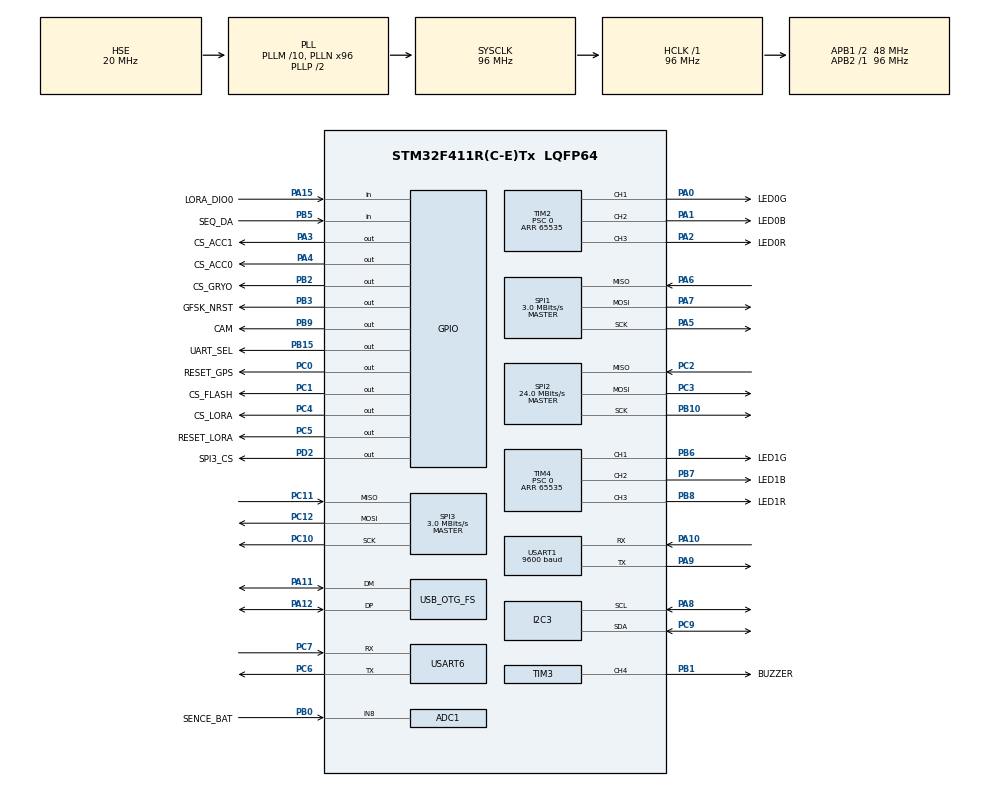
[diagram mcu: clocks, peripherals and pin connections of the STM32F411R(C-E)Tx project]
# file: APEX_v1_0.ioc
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ADC1.Channel-0\#ChannelRegularConversion=ADC_CHANNEL_8
ADC1.NbrOfConversionFlag=1
ADC1.Rank-0\#ChannelRegularConversion=1
ADC1.SamplingTime-0\#ChannelRegularConversion=ADC_SAMPLETIME_3CYCLES
ADC1.master=1
Dma.ADC1.8.Direction=DMA_PERIPH_TO_MEMORY
Dma.ADC1.8.FIFOMode=DMA_FIFOMODE_DISABLE
Dma.ADC1.8.Instance=DMA2_Stream4
Dma.ADC1.8.MemDataAlignment=DMA_MDATAALIGN_HALFWORD
Dma.ADC1.8.MemInc=DMA_MINC_ENABLE
Dma.ADC1.8.Mode=DMA_NORMAL
Dma.ADC1.8.PeriphDataAlignment=DMA_PDATAALIGN_HALFWORD
Dma.ADC1.8.PeriphInc=DMA_PINC_DISABLE
Dma.ADC1.8.Priority=DMA_PRIORITY_LOW
Dma.I2C3_RX.0.Direction=DMA_PERIPH_TO_MEMORY
Dma.I2C3_RX.0.FIFOMode=DMA_FIFOMODE_DISABLE
Dma.I2C3_RX.0.Instance=DMA1_Stream1
Dma.I2C3_RX.0.MemDataAlignment=DMA_MDATAALIGN_BYTE
Dma.I2C3_RX.0.MemInc=DMA_MINC_ENABLE
Dma.I2C3_RX.0.Mode=DMA_NORMAL
Dma.I2C3_RX.0.PeriphDataAlignment=DMA_PDATAALIGN_BYTE
Dma.I2C3_RX.0.PeriphInc=DMA_PINC_DISABLE
Dma.I2C3_RX.0.Priority=DMA_PRIORITY_LOW
Dma.I2C3_TX.1.Direction=DMA_MEMORY_TO_PERIPH
Dma.I2C3_TX.1.FIFOMode=DMA_FIFOMODE_DISABLE
Dma.I2C3_TX.1.Instance=DMA1_Stream5
Dma.I2C3_TX.1.MemDataAlignment=DMA_MDATAALIGN_BYTE
Dma.I2C3_TX.1.MemInc=DMA_MINC_ENABLE
Dma.I2C3_TX.1.Mode=DMA_NORMAL
Dma.I2C3_TX.1.PeriphDataAlignment=DMA_PDATAALIGN_BYTE
Dma.I2C3_TX.1.PeriphInc=DMA_PINC_DISABLE
Dma.I2C3_TX.1.Priority=DMA_PRIORITY_LOW
Dma.Request0=I2C3_RX
Dma.Request1=I2C3_TX
Dma.Request10=USART6_TX
Dma.Request11=SPI3_RX
Dma.Request12=SPI3_TX
Dma.Request2=SPI1_RX
Dma.Request3=SPI1_TX
Dma.Request4=SPI2_RX
Dma.Request5=SPI2_TX
Dma.Request6=USART1_RX
Dma.Request7=USART1_TX
Dma.Request8=ADC1
Dma.Request9=USART6_RX
Dma.SPI1_RX.2.Direction=DMA_PERIPH_TO_MEMORY
Dma.SPI1_RX.2.FIFOMode=DMA_FIFOMODE_DISABLE
Dma.SPI1_RX.2.Instance=DMA2_Stream0
Dma.SPI1_RX.2.MemDataAlignment=DMA_MDATAALIGN_BYTE
Dma.SPI1_RX.2.MemInc=DMA_MINC_ENABLE
Dma.SPI1_RX.2.Mode=DMA_NORMAL
Dma.SPI1_RX.2.PeriphDataAlignment=DMA_PDATAALIGN_BYTE
Dma.SPI1_RX.2.PeriphInc=DMA_PINC_DISABLE
Dma.SPI1_RX.2.Priority=DMA_PRIORITY_LOW
Dma.SPI1_TX.3.Direction=DMA_MEMORY_TO_PERIPH
Dma.SPI1_TX.3.FIFOMode=DMA_FIFOMODE_DISABLE
Dma.SPI1_TX.3.Instance=DMA2_Stream2
Dma.SPI1_TX.3.MemDataAlignment=DMA_MDATAALIGN_BYTE
Dma.SPI1_TX.3.MemInc=DMA_MINC_ENABLE
Dma.SPI1_TX.3.Mode=DMA_NORMAL
Dma.SPI1_TX.3.PeriphDataAlignment=DMA_PDATAALIGN_BYTE
Dma.SPI1_TX.3.PeriphInc=DMA_PINC_DISABLE
Dma.SPI1_TX.3.Priority=DMA_PRIORITY_LOW
Dma.SPI2_RX.4.Direction=DMA_PERIPH_TO_MEMORY
Dma.SPI2_RX.4.FIFOMode=DMA_FIFOMODE_DISABLE
Dma.SPI2_RX.4.Instance=DMA1_Stream3
Dma.SPI2_RX.4.MemDataAlignment=DMA_MDATAALIGN_BYTE
Dma.SPI2_RX.4.MemInc=DMA_MINC_ENABLE
Dma.SPI2_RX.4.Mode=DMA_NORMAL
Dma.SPI2_RX.4.PeriphDataAlignment=DMA_PDATAALIGN_BYTE
Dma.SPI2_RX.4.PeriphInc=DMA_PINC_DISABLE
Dma.SPI2_RX.4.Priority=DMA_PRIORITY_LOW
Dma.SPI2_TX.5.Direction=DMA_MEMORY_TO_PERIPH
Dma.SPI2_TX.5.FIFOMode=DMA_FIFOMODE_DISABLE
Dma.SPI2_TX.5.Instance=DMA1_Stream4
Dma.SPI2_TX.5.MemDataAlignment=DMA_MDATAALIGN_BYTE
Dma.SPI2_TX.5.MemInc=DMA_MINC_ENABLE
Dma.SPI2_TX.5.Mode=DMA_NORMAL
Dma.SPI2_TX.5.PeriphDataAlignment=DMA_PDATAALIGN_BYTE
Dma.SPI2_TX.5.PeriphInc=DMA_PINC_DISABLE
Dma.SPI2_TX.5.Priority=DMA_PRIORITY_LOW
Dma.SPI3_RX.11.Direction=DMA_PERIPH_TO_MEMORY
Dma.SPI3_RX.11.FIFOMode=DMA_FIFOMODE_DISABLE
Dma.SPI3_RX.11.Instance=DMA1_Stream0
Dma.SPI3_RX.11.MemDataAlignment=DMA_MDATAALIGN_BYTE
Dma.SPI3_RX.11.MemInc=DMA_MINC_ENABLE
Dma.SPI3_RX.11.Mode=DMA_NORMAL
Dma.SPI3_RX.11.PeriphDataAlignment=DMA_PDATAALIGN_BYTE
Dma.SPI3_RX.11.PeriphInc=DMA_PINC_DISABLE
Dma.SPI3_RX.11.Priority=DMA_PRIORITY_LOW
Dma.SPI3_TX.12.Direction=DMA_MEMORY_TO_PERIPH
Dma.SPI3_TX.12.FIFOMode=DMA_FIFOMODE_DISABLE
Dma.SPI3_TX.12.Instance=DMA1_Stream7
Dma.SPI3_TX.12.MemDataAlignment=DMA_MDATAALIGN_BYTE
Dma.SPI3_TX.12.MemInc=DMA_MINC_ENABLE
Dma.SPI3_TX.12.Mode=DMA_NORMAL
Dma.SPI3_TX.12.PeriphDataAlignment=DMA_PDATAALIGN_BYTE
Dma.SPI3_TX.12.PeriphInc=DMA_PINC_DISABLE
Dma.SPI3_TX.12.Priority=DMA_PRIORITY_LOW
Dma.USART1_RX.6.Direction=DMA_PERIPH_TO_MEMORY
Dma.USART1_RX.6.FIFOMode=DMA_FIFOMODE_DISABLE
Dma.USART1_RX.6.Instance=DMA2_Stream5
Dma.USART1_RX.6.MemDataAlignment=DMA_MDATAALIGN_BYTE
Dma.USART1_RX.6.MemInc=DMA_MINC_ENABLE
Dma.USART1_RX.6.Mode=DMA_NORMAL
Dma.USART1_RX.6.PeriphDataAlignment=DMA_PDATAALIGN_BYTE
Dma.USART1_RX.6.PeriphInc=DMA_PINC_DISABLE
Dma.USART1_RX.6.Priority=DMA_PRIORITY_LOW
Dma.USART1_TX.7.Direction=DMA_MEMORY_TO_PERIPH
Dma.USART1_TX.7.FIFOMode=DMA_FIFOMODE_DISABLE
Dma.USART1_TX.7.Instance=DMA2_Stream7
Dma.USART1_TX.7.MemDataAlignment=DMA_MDATAALIGN_BYTE
Dma.USART1_TX.7.MemInc=DMA_MINC_ENABLE
Dma.USART1_TX.7.Mode=DMA_NORMAL
Dma.USART1_TX.7.PeriphDataAlignment=DMA_PDATAALIGN_BYTE
Dma.USART1_TX.7.PeriphInc=DMA_PINC_DISABLE
Dma.USART1_TX.7.Priority=DMA_PRIORITY_LOW
Dma.USART6_RX.9.Direction=DMA_PERIPH_TO_MEMORY
Dma.USART6_RX.9.FIFOMode=DMA_FIFOMODE_DISABLE
Dma.USART6_RX.9.Instance=DMA2_Stream1
Dma.USART6_RX.9.MemDataAlignment=DMA_MDATAALIGN_BYTE
Dma.USART6_RX.9.MemInc=DMA_MINC_ENABLE
Dma.USART6_RX.9.Mode=DMA_NORMAL
Dma.USART6_RX.9.PeriphDataAlignment=DMA_PDATAALIGN_BYTE
Dma.USART6_RX.9.PeriphInc=DMA_PINC_DISABLE
Dma.USART6_RX.9.Priority=DMA_PRIORITY_LOW
Dma.USART6_TX.10.Direction=DMA_MEMORY_TO_PERIPH
Dma.USART6_TX.10.FIFOMode=DMA_FIFOMODE_DISABLE
Dma.USART6_TX.10.Instance=DMA2_Stream6
Dma.USART6_TX.10.MemDataAlignment=DMA_MDATAALIGN_BYTE
Dma.USART6_TX.10.MemInc=DMA_MINC_ENABLE
Dma.USART6_TX.10.Mode=DMA_NORMAL
Dma.USART6_TX.10.PeriphDataAlignment=DMA_PDATAALIGN_BYTE
Dma.USART6_TX.10.PeriphInc=DMA_PINC_DISABLE
Dma.USART6_TX.10.Priority=DMA_PRIORITY_LOW
FREERTOS.INCLUDE_pcTaskGetTaskName=1
FREERTOS.INCLUDE_uxTaskGetStackHighWaterMark2=1
FREERTOS.INCLUDE_vTaskCleanUpResources=1
FREERTOS.INCLUDE_xEventGroupSetBitFromISR=1
FREERTOS.INCLUDE_xSemaphoreGetMutexHolder=1
FREERTOS.INCLUDE_xTaskAbortDelay=1
FREERTOS.INCLUDE_xTaskGetHandle=1
FREERTOS.Tasks01=defaultTask,24,1024,StartDefaultTask,Default,NULL,Static,defaultTaskBuffer,defaultTaskControlBlock
FREERTOS.configGENERATE_RUN_TIME_STATS=1
FREERTOS.configRECORD_STACK_HIGH_ADDRESS=1
FREERTOS.configUSE_APPLICATION_TASK_TAG=1
FREERTOS.configUSE_NEWLIB_REENTRANT=0
FREERTOS.configUSE_POSIX_ERRNO=1
FREERTOS.configUSE_STATS_FORMATTING_FUNCTIONS=1
FREERTOS.configUSE_TICKLESS_IDLE=0
FREERTOS.copyHeapFile=1
Mcu.Family=STM32F4
Mcu.Name=STM32F411R(C-E)Tx
Mcu.Package=LQFP64
NVIC.DMA1_Stream0_IRQn=true\:5\:0\:false\:false\:true\:true\:false\:true\:true
NVIC.DMA1_Stream1_IRQn=true\:5\:0\:false\:false\:true\:true\:false\:true\:true
NVIC.DMA1_Stream3_IRQn=true\:5\:0\:false\:false\:true\:true\:false\:true\:true
NVIC.DMA1_Stream4_IRQn=true\:5\:0\:false\:false\:true\:true\:false\:true\:true
NVIC.DMA1_Stream5_IRQn=true\:5\:0\:false\:false\:true\:true\:false\:true\:true
NVIC.DMA1_Stream7_IRQn=true\:5\:0\:false\:false\:true\:true\:false\:true\:true
NVIC.DMA2_Stream0_IRQn=true\:5\:0\:false\:false\:true\:true\:false\:true\:true
NVIC.DMA2_Stream1_IRQn=true\:5\:0\:false\:false\:true\:true\:false\:true\:true
NVIC.DMA2_Stream2_IRQn=true\:5\:0\:false\:false\:true\:true\:false\:true\:true
NVIC.DMA2_Stream4_IRQn=true\:5\:0\:false\:false\:true\:true\:false\:true\:true
NVIC.DMA2_Stream5_IRQn=true\:5\:0\:false\:false\:true\:true\:false\:true\:true
NVIC.DMA2_Stream6_IRQn=true\:5\:0\:false\:false\:true\:true\:false\:true\:true
NVIC.DMA2_Stream7_IRQn=true\:5\:0\:false\:false\:true\:true\:false\:true\:true
NVIC.OTG_FS_IRQn=true\:5\:0\:false\:false\:true\:true\:false\:true\:true
NVIC.PriorityGroup=NVIC_PRIORITYGROUP_4
NVIC.SPI3_IRQn=true\:5\:0\:false\:false\:true\:true\:true\:true\:true
NVIC.TIM1_TRG_COM_TIM11_IRQn=true\:5\:0\:false\:false\:true\:true\:true\:true\:true
NVIC.USART1_IRQn=true\:5\:0\:false\:false\:true\:true\:true\:true\:true
NVIC.USART6_IRQn=true\:5\:0\:false\:false\:true\:true\:true\:true\:true
PA0-WKUP.GPIO_Label=LED0G
PA0-WKUP.Signal=S_TIM2_CH1_ETR
PA1.GPIO_Label=LED0B
PA1.Signal=S_TIM2_CH2
PA10.Mode=Asynchronous
PA10.Signal=USART1_RX
PA11.Mode=Device_Only
PA11.Signal=USB_OTG_FS_DM
PA12.Mode=Device_Only
PA12.Signal=USB_OTG_FS_DP
PA13.Mode=Serial_Wire
PA13.Signal=SYS_JTMS-SWDIO
PA14.Mode=Serial_Wire
PA14.Signal=SYS_JTCK-SWCLK
PA15.GPIO_Label=LORA_DIO0
PA15.Signal=GPIO_Input
PA2.GPIO_Label=LED0R
PA2.Signal=S_TIM2_CH3
PA3.GPIO_Label=CS_ACC1
PA3.PinState=GPIO_PIN_SET
PA3.Signal=GPIO_Output
PA4.GPIO_Label=CS_ACC0
PA4.PinState=GPIO_PIN_SET
PA4.Signal=GPIO_Output
PA5.Mode=Full_Duplex_Master
PA5.Signal=SPI1_SCK
PA6.Mode=Full_Duplex_Master
PA6.Signal=SPI1_MISO
PA7.Mode=Full_Duplex_Master
PA7.Signal=SPI1_MOSI
PA8.Mode=I2C
PA8.Signal=I2C3_SCL
PA9.Mode=Asynchronous
PA9.Signal=USART1_TX
PB0.GPIO_Label=SENCE_BAT
PB0.Signal=ADCx_IN8
PB1.GPIO_Label=BUZZER
PB1.Signal=S_TIM3_CH4
PB10.Mode=Full_Duplex_Master
PB10.Signal=SPI2_SCK
PB15.GPIO_Label=UART_SEL
PB15.Signal=GPIO_Output
PB2.GPIO_Label=CS_GRYO
PB2.PinState=GPIO_PIN_SET
PB2.Signal=GPIO_Output
PB3.GPIO_Label=GFSK_NRST
PB3.PinState=GPIO_PIN_SET
PB3.Signal=GPIO_Output
PB5.GPIO_Label=SEQ_DA
PB5.Signal=GPIO_Input
PB6.GPIO_Label=LED1G
PB6.Signal=S_TIM4_CH1
PB7.GPIO_Label=LED1B
PB7.Signal=S_TIM4_CH2
PB8.GPIO_Label=LED1R
PB8.Signal=S_TIM4_CH3
PB9.GPIO_Label=CAM
PB9.Signal=GPIO_Output
PC0.GPIO_Label=RESET_GPS
PC0.PinState=GPIO_PIN_SET
PC0.Signal=GPIO_Output
PC1.GPIO_Label=CS_FLASH
PC1.PinState=GPIO_PIN_SET
PC1.Signal=GPIO_Output
PC10.Mode=Full_Duplex_Master
PC10.Signal=SPI3_SCK
PC11.Mode=Full_Duplex_Master
PC11.Signal=SPI3_MISO
PC12.Mode=Full_Duplex_Master
PC12.Signal=SPI3_MOSI
PC14-OSC32_IN.Mode=LSE-External-Oscillator
PC14-OSC32_IN.Signal=RCC_OSC32_IN
PC15-OSC32_OUT.Mode=LSE-External-Oscillator
PC15-OSC32_OUT.Signal=RCC_OSC32_OUT
PC2.Mode=Full_Duplex_Master
PC2.Signal=SPI2_MISO
PC3.Mode=Full_Duplex_Master
PC3.Signal=SPI2_MOSI
PC4.GPIO_Label=CS_LORA
PC4.PinState=GPIO_PIN_SET
PC4.Signal=GPIO_Output
PC5.GPIO_Label=RESET_LORA
PC5.PinState=GPIO_PIN_SET
PC5.Signal=GPIO_Output
PC6.Mode=Asynchronous
PC6.Signal=USART6_TX
PC7.Mode=Asynchronous
PC7.Signal=USART6_RX
PC9.Mode=I2C
PC9.Signal=I2C3_SDA
PD2.GPIO_Label=SPI3_CS
PD2.PinState=GPIO_PIN_SET
PD2.Signal=GPIO_Output
PH0\ -\ OSC_IN.Mode=HSE-External-Oscillator
PH0\ -\ OSC_IN.Signal=RCC_OSC_IN
PH1\ -\ OSC_OUT.Mode=HSE-External-Oscillator
PH1\ -\ OSC_OUT.Signal=RCC_OSC_OUT
ProjectManager.HeapSize=0x200
ProjectManager.StackSize=0x400
ProjectManager.TargetToolchain=CMake
RCC.48MHZClocksFreq_Value=48000000
RCC.AHBFreq_Value=96000000
RCC.APB1CLKDivider=RCC_HCLK_DIV2
RCC.APB1Freq_Value=48000000
RCC.APB1TimFreq_Value=96000000
RCC.APB2Freq_Value=96000000
RCC.APB2TimFreq_Value=96000000
RCC.CortexFreq_Value=96000000
RCC.HCLKFreq_Value=96000000
RCC.HSE_VALUE=20000000
RCC.HSI_VALUE=16000000
RCC.PLLM=10
RCC.PLLN=96
RCC.SYSCLKFreq_VALUE=96000000
RCC.SYSCLKSource=RCC_SYSCLKSOURCE_PLLCLK
RCC.VCOOutputFreq_Value=192000000
SH.ADCx_IN8.0=ADC1_IN8,IN8
SH.S_TIM2_CH1_ETR.0=TIM2_CH1,PWM Generation1 CH1
SH.S_TIM2_CH2.0=TIM2_CH2,PWM Generation2 CH2
SH.S_TIM2_CH3.0=TIM2_CH3,PWM Generation3 CH3
SH.S_TIM3_CH4.0=TIM3_CH4,PWM Generation4 CH4
SH.S_TIM4_CH1.0=TIM4_CH1,PWM Generation1 CH1
SH.S_TIM4_CH2.0=TIM4_CH2,PWM Generation2 CH2
SH.S_TIM4_CH3.0=TIM4_CH3,PWM Generation3 CH3
SPI1.BaudRatePrescaler=SPI_BAUDRATEPRESCALER_32
SPI1.CalculateBaudRate=3.0 MBits/s
SPI1.Direction=SPI_DIRECTION_2LINES
SPI1.Mode=SPI_MODE_MASTER
SPI1.VirtualType=VM_MASTER
SPI2.CalculateBaudRate=24.0 MBits/s
SPI2.Direction=SPI_DIRECTION_2LINES
SPI2.Mode=SPI_MODE_MASTER
SPI2.VirtualType=VM_MASTER
SPI3.BaudRatePrescaler=SPI_BAUDRATEPRESCALER_16
SPI3.CalculateBaudRate=3.0 MBits/s
SPI3.Direction=SPI_DIRECTION_2LINES
SPI3.Mode=SPI_MODE_MASTER
SPI3.VirtualType=VM_MASTER
TIM2.Channel-PWM\ Generation1\ CH1=TIM_CHANNEL_1
TIM2.Channel-PWM\ Generation2\ CH2=TIM_CHANNEL_2
TIM2.Channel-PWM\ Generation3\ CH3=TIM_CHANNEL_3
TIM2.Period=65535
TIM2.Prescaler=0
TIM3.Channel-PWM\ Generation4\ CH4=TIM_CHANNEL_4
TIM3.Period=65535
TIM3.Prescaler=0
TIM4.Channel-PWM\ Generation1\ CH1=TIM_CHANNEL_1
TIM4.Channel-PWM\ Generation2\ CH2=TIM_CHANNEL_2
TIM4.Channel-PWM\ Generation3\ CH3=TIM_CHANNEL_3
TIM4.Period=65535
TIM4.Prescaler=0
TIM9.Period=65535-1
TIM9.Prescaler=1-1
USART1.BaudRate=9600
USART1.VirtualMode=VM_ASYNC
USART6.VirtualMode=VM_ASYNC
USB_DEVICE.CLASS_NAME_FS=CDC
USB_DEVICE.VirtualMode=Cdc
USB_DEVICE.VirtualModeFS=Cdc_FS
USB_OTG_FS.VirtualMode=Device_Only
VP_CRC_VS_CRC.Mode=CRC_Activate
VP_FREERTOS_VS_CMSIS_V2.Mode=CMSIS_V2
VP_TIM11_VS_ClockSourceINT.Mode=Enable_Timer
VP_TIM2_VS_ClockSourceINT.Mode=Internal
VP_TIM3_VS_ClockSourceINT.Mode=Internal
VP_TIM4_VS_ClockSourceINT.Mode=Internal
VP_TIM9_VS_ClockSourceINT.Mode=Internal
VP_USB_DEVICE_VS_USB_DEVICE_CDC_FS.Mode=CDC_FS
board=custom

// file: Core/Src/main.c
/* USER CODE BEGIN Header */
/**
 ******************************************************************************
 * @file           : main.c
 * @brief          : Main program body
 ******************************************************************************
 * @attention
 *
 * Copyright (c) 2025 STMicroelectronics.
 * All rights reserved.
 *
 * This software is licensed under terms that can be found in the LICENSE file
 * in the root directory of this software component.
 * If no LICENSE file comes with this software, it is provided AS-IS.
 *
 ******************************************************************************
 */
/* USER CODE END Header */
#include "main.h"
#include "cmsis_os.h"
#include "adc.h"
#include "crc.h"
#include "dma.h"
#include "i2c.h"
#include "spi.h"
#include "tim.h"
#include "usart.h"
#include "usb_device.h"
#include "gpio.h"

/* USER CODE BEGIN Includes */

#include "usbd_cdc_if.h"

#include "project.h"

#include "adc.h"
#include "crc.h"
#include "dma.h"
#include "i2c.h"
#include "spi.h"
#include "tim.h"
#include "usart.h"
#include "gpio.h"

/* USER CODE END Includes */

void SystemClock_Config(void);
void MX_FREERTOS_Init(void);
/* USER CODE BEGIN PFP */
const char TASK_Program_start_name[19] = "TASK_Program_start";
/* USER CODE END PFP */

int main(void)
{

  /* MCU Configuration--------------------------------------------------------*/

  /* Reset of all peripherals, Initializes the Flash interface and the Systick. */
  HAL_Init();

  /* Configure the system clock */
  SystemClock_Config();

  /* Initialize all configured peripherals */
  MX_GPIO_Init();
  MX_DMA_Init();
  MX_I2C3_Init();
  MX_SPI2_Init();
  MX_TIM2_Init();
  MX_TIM4_Init();
  MX_USART1_UART_Init();
  MX_ADC1_Init();
  MX_SPI1_Init();
  MX_TIM3_Init();
  MX_CRC_Init();
  MX_TIM11_Init();
  MX_TIM9_Init();
  MX_SPI3_Init();
  MX_USART6_UART_Init();
  /* USER CODE BEGIN 2 */

	MX_USB_DEVICE_Init();

#if (APEX_CFG_SCHED_SEQ == 1)
	DRIVERS_CONFIG_init_result_t Drivers_Init_Seq_result;
	DRIVERS_CONFIG_init_seq(&Drivers_Init_Seq_result);
	// Later on, we can implement more specific error handling based on the
	// type of failure. DRIVERS_CONFIG_init_seq could return different error codes for
	// different initialization failures or write on struct saying which module is
	// init and which isn't, etc. For now, we just do a generic error handler.

	setup();

#endif

#if (APEX_CFG_SCHED_RTOS == 1)
  /* USER CODE END 2 */

  /* Init scheduler */
  osKernelInitialize();  /* Call init function for freertos objects (in cmsis_os2.c) */
  MX_FREERTOS_Init();

  /* Start scheduler */
  osKernelStart();

  /* We should never get here as control is now taken by the scheduler */

  /* Infinite loop */
  /* USER CODE BEGIN WHILE */
#endif

	while (1) {
#if (APEX_CFG_SCHED_SEQ == 1)
		loop();
#endif
    /* USER CODE END WHILE */

	}
}

void SystemClock_Config(void)
{
  RCC_OscInitTypeDef RCC_OscInitStruct = {0};
  RCC_ClkInitTypeDef RCC_ClkInitStruct = {0};

  /** Configure the main internal regulator output voltage
  */
  __HAL_RCC_PWR_CLK_ENABLE();
  __HAL_PWR_VOLTAGESCALING_CONFIG(PWR_REGULATOR_VOLTAGE_SCALE1);

  /** Initializes the RCC Oscillators according to the specified parameters
  * in the RCC_OscInitTypeDef structure.
  */
  RCC_OscInitStruct.OscillatorType = RCC_OSCILLATORTYPE_HSE;
  RCC_OscInitStruct.HSEState = RCC_HSE_ON;
  RCC_OscInitStruct.PLL.PLLState = RCC_PLL_ON;
  RCC_OscInitStruct.PLL.PLLSource = RCC_PLLSOURCE_HSE;
  RCC_OscInitStruct.PLL.PLLM = 10;
  RCC_OscInitStruct.PLL.PLLN = 96;
  RCC_OscInitStruct.PLL.PLLP = RCC_PLLP_DIV2;
  RCC_OscInitStruct.PLL.PLLQ = 4;
  if (HAL_RCC_OscConfig(&RCC_OscInitStruct) != HAL_OK)
  {
    Error_Handler();
  }

  /** Initializes the CPU, AHB and APB buses clocks
  */
  RCC_ClkInitStruct.ClockType = RCC_CLOCKTYPE_HCLK|RCC_CLOCKTYPE_SYSCLK
                              |RCC_CLOCKTYPE_PCLK1|RCC_CLOCKTYPE_PCLK2;
  RCC_ClkInitStruct.SYSCLKSource = RCC_SYSCLKSOURCE_PLLCLK;
  RCC_ClkInitStruct.AHBCLKDivider = RCC_SYSCLK_DIV1;
  RCC_ClkInitStruct.APB1CLKDivider = RCC_HCLK_DIV2;
  RCC_ClkInitStruct.APB2CLKDivider = RCC_HCLK_DIV1;

  if (HAL_RCC_ClockConfig(&RCC_ClkInitStruct, FLASH_LATENCY_3) != HAL_OK)
  {
    Error_Handler();
  }
}

void HAL_TIM_PeriodElapsedCallback(TIM_HandleTypeDef *htim)
{
  if (htim->Instance == TIM10)
  {
    HAL_IncTick();
  }
}

void Error_Handler(void)
{
  /* USER CODE BEGIN Error_Handler_Debug */
  /* User can add his own implementation to report the HAL error return state */
  __disable_irq();

  HAL_GPIO_TogglePin(LED0B_GPIO_Port, LED0B_Pin);
  while (1) {
  }
  /* USER CODE END Error_Handler_Debug */
}
#ifdef USE_FULL_ASSERT
/**
  * @brief  Reports the name of the source file and the source line number
  *         where the assert_param error has occurred.
  * @param  file: pointer to the source file name
  * @param  line: assert_param error line source number
  * @retval None
  */
void assert_failed(uint8_t *file, uint32_t line)
{
  /* USER CODE BEGIN 6 */
  /* User can add his own implementation to report the file name and line
     number, ex: printf("Wrong parameters value: file %s on line %d\r\n", file,
     line) */
	while (1);
  /* USER CODE END 6 */
}
#endif /* USE_FULL_ASSERT */

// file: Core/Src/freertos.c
/* USER CODE BEGIN Header */
/**
  ******************************************************************************
  * File Name          : freertos.c
  * Description        : Code for freertos applications
  ******************************************************************************
  * @attention
  *
  * Copyright (c) 2025 STMicroelectronics.
  * All rights reserved.
  *
  * This software is licensed under terms that can be found in the LICENSE file
  * in the root directory of this software component.
  * If no LICENSE file comes with this software, it is provided AS-IS.
  *
  ******************************************************************************
  */
/* USER CODE END Header */

#include "FreeRTOS.h"
#include "task.h"
#include "main.h"
#include "cmsis_os.h"

/* USER CODE BEGIN Includes */
#include "tim.h"
#include "spi.h"
#include "project.h"
/* USER CODE END Includes */

typedef StaticTask_t osStaticThreadDef_t;
typedef StaticSemaphore_t osStaticMutexDef_t;
typedef StaticEventGroup_t osStaticEventGroupDef_t;

/* Definitions for defaultTask */
osThreadId_t defaultTaskHandle;
uint32_t defaultTaskBuffer[ 1024 ];
osStaticThreadDef_t defaultTaskControlBlock;
const osThreadAttr_t defaultTask_attributes = {
  .name = "defaultTask",
  .cb_mem = &defaultTaskControlBlock,
  .cb_size = sizeof(defaultTaskControlBlock),
  .stack_mem = &defaultTaskBuffer[0],
  .stack_size = sizeof(defaultTaskBuffer),
  .priority = (osPriority_t) osPriorityNormal,
};

/* USER CODE BEGIN FunctionPrototypes */
#if (APEX_CFG_SCHED_RTOS == 1)
void setup_pre_kernel(void);
#endif
/* USER CODE END FunctionPrototypes */

void StartDefaultTask(void *argument);

extern void MX_USB_DEVICE_Init(void);
void MX_FREERTOS_Init(void); /* (MISRA C 2004 rule 8.1) */

/* Hook prototypes */
void configureTimerForRunTimeStats(void);
unsigned long getRunTimeCounterValue(void);

/* USER CODE BEGIN 1 */
/* Functions needed when configGENERATE_RUN_TIME_STATS is on */
__weak void configureTimerForRunTimeStats(void)
{
	HAL_TIM_Base_Start_IT(&htim11);
}

extern volatile unsigned long ulHighFrequencyTimerTicks;
__weak unsigned long getRunTimeCounterValue(void)
{
return ulHighFrequencyTimerTicks;
}
/* USER CODE END 1 */

/* USER CODE BEGIN VPORT_SUPPORT_TICKS_AND_SLEEP */
__weak void vPortSuppressTicksAndSleep( TickType_t xExpectedIdleTime )
{
  // Generated when configUSE_TICKLESS_IDLE == 2.
  // Function called in tasks.c (in portTASK_FUNCTION).
  // TO BE COMPLETED or TO BE REPLACED by a user one, overriding that weak one.
}
/* USER CODE END VPORT_SUPPORT_TICKS_AND_SLEEP */

void MX_FREERTOS_Init(void) {

  /* USER CODE BEGIN RTOS_SEMAPHORES */
#if (APEX_CFG_SCHED_RTOS == 1)
  Init_spi_semaphores();
#endif
  /* USER CODE END RTOS_SEMAPHORES */

  /* Create the thread(s) */
  /* creation of defaultTask */
  defaultTaskHandle = osThreadNew(StartDefaultTask, NULL, &defaultTask_attributes);

  /* USER CODE BEGIN RTOS_THREADS */
#if (APEX_CFG_SCHED_RTOS == 1)
  /* Optional project hook, still before osKernelStart(): no task runs yet. */
  setup_pre_kernel();
#endif
  /* USER CODE END RTOS_THREADS */

}

void StartDefaultTask(void *argument)
{
  /* init code for USB_DEVICE */
  MX_USB_DEVICE_Init();
  /* USER CODE BEGIN StartDefaultTask */
#if (APEX_CFG_SCHED_RTOS == 1)
  /* Application thread: the project's setup() runs here, in thread context
     with the kernel started, so it may spawn and join jobs directly. Anything
     meant to run forever is a persistent task spawned by setup(); there is no
     loop() in RTOS mode. Static allocation, so exiting frees nothing and
     costs nothing. */
  setup();
  osThreadExit();
#else
  for(;;)
  {
    osDelay(1);
  }
#endif
  /* USER CODE END StartDefaultTask */
}

/* USER CODE BEGIN Application */
#if (APEX_CFG_SCHED_RTOS == 1)
/* Default: nothing to prepare before the kernel starts. A project that needs
   it (objects to create before any task runs, pre-kernel tests) defines its
   own setup_pre_kernel(). Thread mode, scheduler not started: no blocking
   call, no osDelay, no task_spawn. */
__weak void setup_pre_kernel(void)
{
}
#endif
/* USER CODE END Application */
